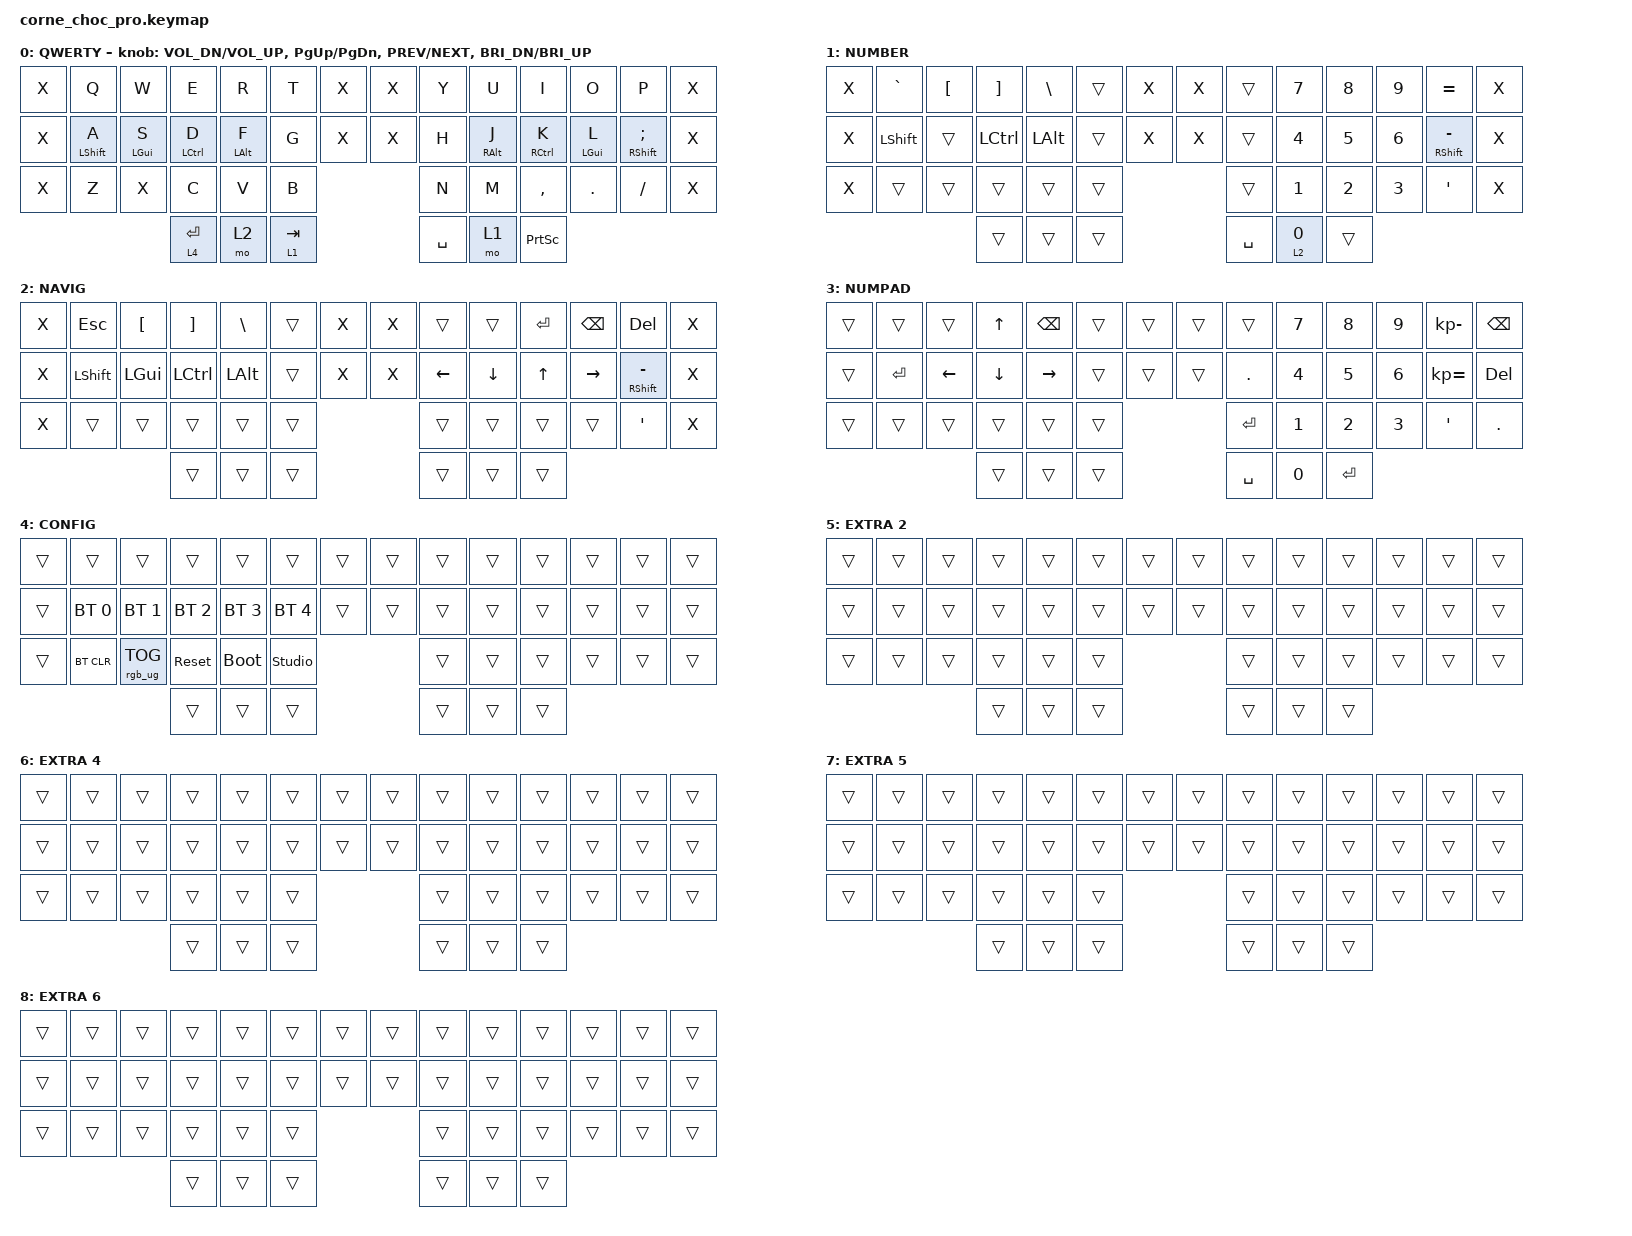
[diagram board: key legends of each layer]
/*
 * Copyright (c) 2020 The ZMK Contributors
 *
 * SPDX-License-Identifier: MIT
 */

#include <behaviors.dtsi>
#include <dt-bindings/zmk/keys.h>
#include <dt-bindings/zmk/bt.h>
#include <dt-bindings/zmk/rgb.h>

&mt {
    flavor = "balanced";
	quick-tap-ms = <190>;
};

/ {
    chosen {
        zmk,physical-layout = &default_layout;
    };
};

/ {
    keymap {
        compatible = "zmk,keymap";

        default_layer {
            display-name = "QWERTY";
            // --------------------------------------------------------------------------------------------------
            // | VOID |  Q  |  W  |  E     |  R  |  T     | VOID | VOID |  Y  |  U   |  I    |  O  |  P  | VOID |
            // | VOID |  A  |  S  |  D     |  F  |  G     | VOID | VOID |  H  |  J   |  K    |  L  |  ;  | VOID |
            // | VOID |  Z  |  X  |  C     |  V  |  B     |             |  N  |  M   |  ,    |  .  |  /  | VOID |
            //                    | mo4TAB | LWR | lt1RET |             | SPC | RSE  | PSCRN |
            bindings = <
                &kp X &kp Q        &kp W 	  &kp E       &kp R      &kp T 		&kp X &kp X   &kp Y     &kp U 	 	&kp I 		&kp O 		&kp P    		&kp X
                &kp X &mt LSHIFT A &mt LGUI S &mt LCTRL D &mt LALT F &kp G 		&kp X &kp X   &kp H     &mt RALT J 	&mt RCTRL K &mt LGUI L  &mt RSHIFT SEMI &kp X
                &kp X &kp Z        &kp X 	  &kp C 	  &kp V      &kp B     			  	  &kp N   	&kp M  		&kp COMMA 	&kp DOT 	&kp FSLH 		&kp X
                                              &lt 4 RET   &mo 2      &lt 1 TAB 		      	  &kp SPACE &mo 1       &kp PSCRN
            >;
            sensor-bindings = <&inc_dec_kp C_VOL_DN C_VOL_UP &inc_dec_kp PG_UP PG_DN &inc_dec_kp C_PREV C_NEXT &inc_dec_kp C_BRI_DN C_BRI_UP>;
        };

        lower_layer {
            display-name = "NUMBER";
            // ------------------------------------------------------------------------------------
            // | VOID |     ` |  [  | ]      |  \  |     | VOID | VOID |     | 7 | 8 | 9 | = | VOID |
            // | VOID | SHFT  |     | CTRL/U | ALT |     | VOID | VOID |     | 4 | 5 | 6 | - | VOID |
            // | VOID |       |  L  | D      |  R  |     |             |     | 1 | 2 | 3 | ' | VOID | 
			// 						|        |     |     |             | SPC | 0 |   |
			bindings = <
				&kp X &kp GRAVE	    &kp LBKT &kp RBKT     &kp BSLH       &trans   &kp X &kp X &trans    &kp N7   &kp N8    &kp N9 &kp EQUAL           &kp X 
                &kp X &kp LSHIFT    &trans   &kp LCTRL    &kp LALT	     &trans   &kp X &kp X &trans    &kp N4   &kp N5    &kp N6 &mt RSHIFT MINUS    &kp X  
                &kp X &trans        &trans   &trans       &trans         &trans               &trans    &kp N1   &kp N2    &kp N3 &kp APOS            &kp X  
                                             &trans       &trans         &trans               &kp SPACE &lt 2 N0 &trans        
            >;
        };

        raise_layer {
            display-name = "NAVIG";
            // -----------------------------------------------------------------------------------------
            // | VOID | ESC   |  [  |  ]  |  \   |     | VOID | VOID |     |     | RET | BSP | DEL | VOID |
            // | VOID |       |     |     |      |     | VOID | VOID | LFT | DWN | UP  | RGT |  =  | VOID |
            // | VOID |       |     |     |      |     |      |      |     |     |     |     |  '  | VOID |
            //                      |     |      |     |      |      |     |     |
            bindings = <
                &kp X &kp ESC       &kp LBKT &kp RBKT  &kp BSLH &trans   &kp X &kp X &trans   &trans   &kp RET  &kp BSPC  &kp DEL 			  &kp X
                &kp X &kp LSHIFT	&kp LGUI &kp LCTRL &kp LALT &trans   &kp X &kp X &kp LEFT &kp DOWN &kp UP   &kp RIGHT &mt RSHIFT MINUS    &kp X
                &kp X &trans  		&trans   &trans    &trans   &trans 			     &trans   &trans   &trans   &trans    &kp APOS     		  &kp X
                                    &trans   &trans    &trans                        &trans   &trans   &trans
            >;
        };

        extra_layer_1 {
            display-name = "NUMPAD";
            // -----------------------------------------------------------------------------------------
            // | VOID |     |     |     |      |     | VOID | VOID |     |     |    |     |     | VOID |
            // | VOID |     |     |     |      |     | VOID | VOID |     |     |    |     |     | VOID |
            // | VOID |     |     |     |      |     |      |      |     |     |    |     |     | VOID |
            //                    |     |      |     |      |      |     |     |
            bindings = <
                &trans &trans  &trans   &kp UP 	 &kp BKSP  &trans &trans &trans &trans   &kp N7 &kp N8 &kp N9 &kp KP_MINUS &kp BSPC 
                &trans &kp RET &kp LEFT &kp DOWN &kp RIGHT &trans &trans &trans &kp DOT  &kp N4 &kp N5 &kp N6 &kp KP_EQUAL &kp DEL   
                &trans &trans &trans   &trans   &trans    &trans           	   &kp RET   &kp N1 &kp N2 &kp N3 &kp APOS     &kp DOT   
                                       &trans   &trans    &trans               &kp SPACE &kp N0 &kp RET       
            >;
        };

        extra_layer_2 {
            display-name = "CONFIG";
            bindings = <
                &trans &trans 		&trans 			&trans 		  &trans 		&trans 		 &trans &trans &trans &trans &trans &trans &trans &trans
                &trans &bt BT_SEL 0 &bt BT_SEL 1    &bt BT_SEL 2  &bt BT_SEL 3  &bt BT_SEL 4 &trans &trans &trans &trans &trans &trans &trans &trans
                &trans &bt BT_CLR   &rgb_ug RGB_TOG &sys_reset    &bootloader   &studio_unlock 			   &trans &trans &trans &trans &trans &trans
                                     				&trans 		  &trans        &trans               	   &trans &trans &trans       
            >;
        };

        extra_layer_3 {
            display-name = "EXTRA 2";
            bindings = <
                &trans &trans &trans &trans &trans &trans &trans &trans &trans &trans &trans &trans &trans &trans
                &trans &trans &trans &trans &trans &trans &trans &trans &trans &trans &trans &trans &trans &trans
                &trans &trans &trans &trans &trans &trans               &trans &trans &trans &trans &trans &trans
                                     &trans &trans &trans               &trans &trans &trans       
            >;
        };

        extra_layer_4 {
            display-name = "EXTRA 4";
            bindings = <
                &trans &trans &trans &trans &trans &trans &trans &trans &trans &trans &trans &trans &trans &trans
                &trans &trans &trans &trans &trans &trans &trans &trans &trans &trans &trans &trans &trans &trans
                &trans &trans &trans &trans &trans &trans               &trans &trans &trans &trans &trans &trans
                                     &trans &trans &trans               &trans &trans &trans       
            >;
        };

        extra_layer_5 {
            display-name = "EXTRA 5";
            bindings = <
                &trans &trans &trans &trans &trans &trans &trans &trans &trans &trans &trans &trans &trans &trans
                &trans &trans &trans &trans &trans &trans &trans &trans &trans &trans &trans &trans &trans &trans
                &trans &trans &trans &trans &trans &trans               &trans &trans &trans &trans &trans &trans
                                     &trans &trans &trans               &trans &trans &trans       
            >;
        };

        extra_layer_6 {
            display-name = "EXTRA 6";
            bindings = <
                &trans &trans &trans &trans &trans &trans &trans &trans &trans &trans &trans &trans &trans &trans
                &trans &trans &trans &trans &trans &trans &trans &trans &trans &trans &trans &trans &trans &trans
                &trans &trans &trans &trans &trans &trans               &trans &trans &trans &trans &trans &trans
                                     &trans &trans &trans               &trans &trans &trans       
            >;
        };
    };
};
